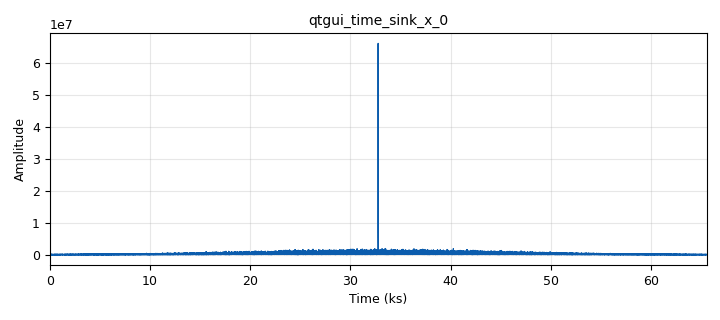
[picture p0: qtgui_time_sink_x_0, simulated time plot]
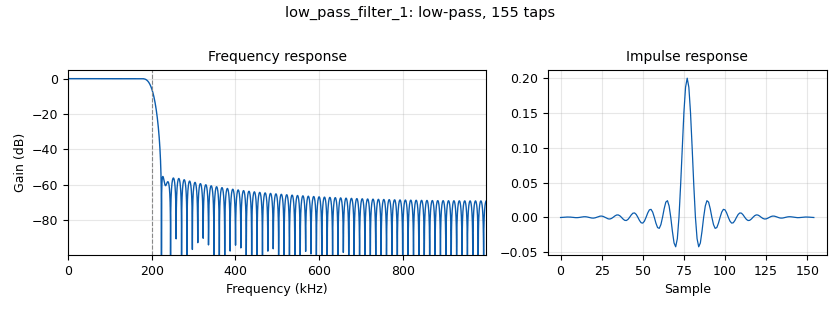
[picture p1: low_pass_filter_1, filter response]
options:
  parameters:
    author: emmanuelkwakyenyantakyi
    generate_options: qt_gui
    id: corr_peak_detection_with_sub_sampling_period_delay_9_1
    output_language: python
    title: Estimating a time delay between two signals with better resolution than one sample period
  states: {}

blocks:
- name: M
  id: variable
  parameters:
    value: '5'
  states: {}
- name: N
  id: variable
  parameters:
    value: 65.536e3
  states: {}
- name: samp_rate
  id: variable
  parameters:
    value: 2e6
  states: {}
- name: analog_noise_source_x_0
  id: analog_noise_source_x
  parameters:
    amp: '1'
    noise_type: analog.GR_GAUSSIAN
    seed: '0'
    type: complex
  states: {}
- name: blocks_complex_to_mag_0
  id: blocks_complex_to_mag
  parameters: {}
  states: {}
- name: blocks_delay_0
  id: blocks_delay
  parameters:
    delay: '1'
    type: complex
  states: {}
- name: blocks_file_sink_0
  id: blocks_file_sink
  parameters:
    file: /Users/emmanuelkwakyenyantakyi/Desktop/Documents/College/SDR_2026_27/GNU_SDR_Intro/Chapter9/data.bin
    type: float
  states: {}
- name: blocks_multiply_conjugate_cc_0
  id: blocks_multiply_conjugate_cc
  parameters:
    vlen: int(N)
  states: {}
- name: blocks_stream_to_vector_0
  id: blocks_stream_to_vector
  parameters:
    num_items: int(N)
    type: complex
  states: {}
- name: blocks_stream_to_vector_0_0
  id: blocks_stream_to_vector
  parameters:
    num_items: int(N)
    type: complex
  states: {}
- name: blocks_throttle2_0
  id: blocks_throttle2
  parameters:
    samples_per_second: samp_rate
    type: complex
  states: {}
- name: blocks_vector_to_stream_0
  id: blocks_vector_to_stream
  parameters:
    num_items: int(N)
    type: complex
  states: {}
- name: epy_block_0
  id: epy_block
  parameters:
    N: int(N)
    _source_code: |-
      import numpy as np
      from gnuradio import gr


      class blk(gr.basic_block):
          """Parabolic correlation peak fitting."""

          def __init__(self, N=1, cancel=True, cancelP=1, printres=True):
              gr.basic_block.__init__(
                  self,
                  name='peak fit',
                  in_sig=[np.complex64],
                  out_sig=[np.float32]
              )

              self.N = N
              self.cancel = cancel
              self.bigarray = np.ones(5 * self.N, dtype=np.complex64)
              self.posarray = 0
              self.printres = printres
              self.cancelP = cancelP

          def general_work(self, input_items, output_items):

              # Tell GNU Radio that we consume all supplied input samples
              self.consume(0, len(input_items[0]))

              # Add incoming samples to our internal buffer
              self.bigarray[
                  self.posarray:self.posarray + len(input_items[0])
              ] = input_items[0]

              self.posarray += len(input_items[0])

              nbsol = 0

              # Process one complete correlation vector whenever N samples
              # have accumulated
              while self.posarray >= self.N:

                  # Optionally suppress correlation around zero delay
                  if self.cancel:
                      self.bigarray[
                          self.N // 2 - self.cancelP:
                          self.N // 2 + self.cancelP
                      ] = 0

                  # Find the coarse (integer-sample) correlation peak
                  coarse = np.argmax(
                      np.absolute(self.bigarray[0:self.N])
                  )

                  # Magnitudes of peak and its two neighbours
                  s1 = np.absolute(self.bigarray[coarse - 1])
                  s2 = np.absolute(self.bigarray[coarse])
                  s3 = np.absolute(self.bigarray[coarse + 1])

                  # Parabolic interpolation
                  denominator = s1 + s3 - 2 * s2

                  if denominator == 0:
                      print("ERROR")
                      correction = 0
                  else:
                      correction = (s1 - s3) / denominator / 2

                  solution = coarse + correction

                  # Remove the N samples we've just processed
                  self.bigarray[
                      0:self.posarray - self.N
                  ] = self.bigarray[
                      self.N:self.posarray
                  ]

                  self.posarray -= self.N

                  # Express delay relative to zero-delay at N/2
                  output_items[0][nbsol] = solution - self.N / 2

                  if self.printres:
                      print(
                          f"{nbsol} "
                          f"{output_items[0][nbsol]:.6f}"
                      )

                  nbsol += 1

              return nbsol
    cancel: 'False'
    cancelP: int(1)
    comment: Peak fit custom block
    printres: 'False'
  states: {}
- name: fft_vxx_0
  id: fft_vxx
  parameters:
    fft_size: int(N)
    forward: 'False'
    shift: 'True'
    type: complex
    window: window.blackmanharris(int(N))
  states: {}
- name: fft_vxx_0_0
  id: fft_vxx
  parameters:
    fft_size: int(N)
    forward: 'False'
    shift: 'True'
    type: complex
    window: window.blackmanharris(int(N))
  states: {}
- name: fft_vxx_0_0_0
  id: fft_vxx
  parameters:
    fft_size: int(N)
    forward: 'True'
    shift: 'True'
    type: complex
    window: window.blackmanharris(int(N))
  states: {}
- name: low_pass_filter_1
  id: low_pass_filter
  parameters:
    cutoff_freq: samp_rate/M/2
    decim: '5'
    gain: '1'
    samp_rate: samp_rate
    type: fir_filter_ccf
    width: samp_rate/64
    win: window.WIN_HAMMING
  states: {}
- name: low_pass_filter_1_0
  id: low_pass_filter
  parameters:
    cutoff_freq: samp_rate/M/2
    decim: '5'
    gain: '1'
    samp_rate: samp_rate
    type: fir_filter_ccf
    width: samp_rate/64
    win: window.WIN_HAMMING
  states: {}
- name: qtgui_number_sink_0
  id: qtgui_number_sink
  parameters:
    autoscale: 'True'
    graph_type: qtgui.NUM_GRAPH_HORIZ
    type: float
  states: {}
- name: qtgui_time_sink_x_0
  id: qtgui_time_sink_x
  parameters:
    autoscale: 'True'
    comment: Zoom into this to see peak more clearly.
    size: int(N)
    srate: '1'
    type: float
  states: {}

connections:
- [analog_noise_source_x_0, '0', blocks_throttle2_0, '0']
- [blocks_complex_to_mag_0, '0', qtgui_time_sink_x_0, '0']
- [blocks_delay_0, '0', low_pass_filter_1_0, '0']
- [blocks_multiply_conjugate_cc_0, '0', fft_vxx_0_0_0, '0']
- [blocks_stream_to_vector_0, '0', fft_vxx_0, '0']
- [blocks_stream_to_vector_0_0, '0', fft_vxx_0_0, '0']
- [blocks_throttle2_0, '0', blocks_delay_0, '0']
- [blocks_throttle2_0, '0', low_pass_filter_1, '0']
- [blocks_vector_to_stream_0, '0', blocks_complex_to_mag_0, '0']
- [blocks_vector_to_stream_0, '0', epy_block_0, '0']
- [epy_block_0, '0', blocks_file_sink_0, '0']
- [epy_block_0, '0', qtgui_number_sink_0, '0']
- [fft_vxx_0, '0', blocks_multiply_conjugate_cc_0, '1']
- [fft_vxx_0_0, '0', blocks_multiply_conjugate_cc_0, '0']
- [fft_vxx_0_0_0, '0', blocks_vector_to_stream_0, '0']
- [low_pass_filter_1, '0', blocks_stream_to_vector_0, '0']
- [low_pass_filter_1_0, '0', blocks_stream_to_vector_0_0, '0']

metadata:
  file_format: 1
  grc_version: 3.10.12.0
